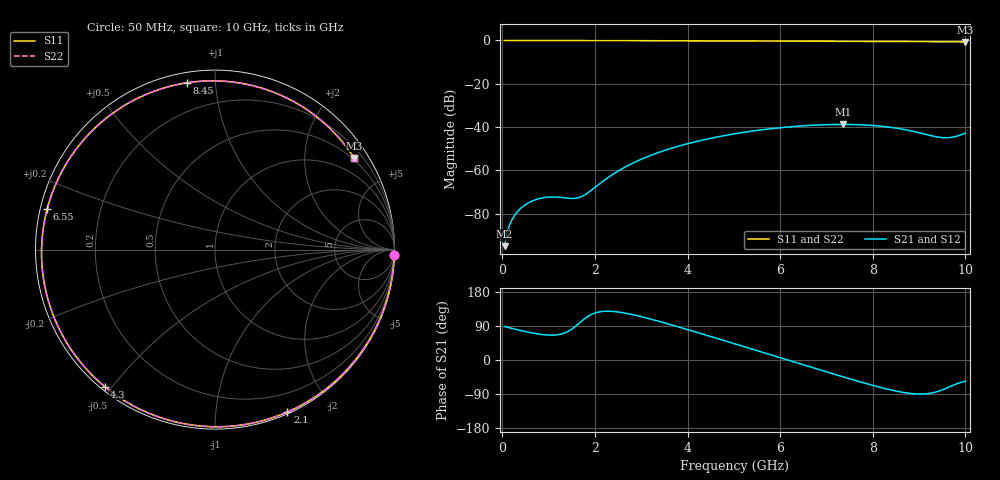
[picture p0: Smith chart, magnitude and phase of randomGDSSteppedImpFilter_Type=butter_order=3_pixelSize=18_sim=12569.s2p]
! freq	dB(S11)	phase(S11)	dB(S12)	phase(S12)
!  dB(S21)	phase(S21)	dB(S22)	phase(S22)
!S-par simulation data
#  GHz  S  DB  R 50
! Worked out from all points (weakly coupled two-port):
!   200 points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, 50 MHz to 10 GHz, reference 50 ohm
!   highest |S21| = -38.78 dB at 7.35 GHz (marker M1); lowest = -95.0 dB at 50 MHz (marker M2)
!   lowest |S11| = -0.7 dB at 10 GHz (marker M3), VSWR 26.71, Z = 22.4 + j164 ohm
!   |S11| at or under -10 dB: nowhere
!   |S22| runs from -0.7 to 0.0 dB; largest |S21 - S12| = 0
!   S11 on the Smith chart (normalised r, x): 50 MHz: 2, -70; 2.1 GHz: 0.02, -1.54; 4.3 GHz: 0.01, -0.48; 6.55 GHz: 0.02, +0.12; 8.45 GHz: 0.05, +0.85; 10 GHz: 0.45, +3.28
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0.05  -0.01 -1.6  -94.99 88.3  -94.99 88.3  -0.01 -1.6
0.3  -0.01 -9.7  -79.75 80.6  -79.75 80.6  -0.01 -9.7
0.5  -0.02 -16.2  -75.81 74.9  -75.81 74.9  -0.02 -16.2
0.8  -0.03 -25.8  -73.01 68.1  -73.01 68.1  -0.03 -25.8
1.1  -0.04 -35.3  -72.27 65.7  -72.27 65.7  -0.04 -35.3
1.55  -0.06 -49.3  -72.93 85.9  -72.93 85.9  -0.06 -49.3
1.75  -0.07 -55.4  -71.64 106.4  -71.64 106.4  -0.07 -55.4
2.1  -0.08 -66.0  -66.18 127.1  -66.18 127.1  -0.08 -66.0
2.7  -0.10 -83.7  -57.91 122.5  -57.91 122.5  -0.10 -83.7
3.4  -0.13 -103.8  -51.54 101.3  -51.54 101.3  -0.13 -103.8
4.3  -0.18 -128.9  -46.11 69.3  -46.11 69.3  -0.18 -128.9
5.05  -0.22 -149.7  -42.98 41.6  -42.98 41.6  -0.22 -149.7
5.8  -0.27 -171.1  -40.76 13.6  -40.76 13.6  -0.27 -171.1
6.55  -0.34 166.4  -39.34 -14.5  -39.34 -14.5  -0.34 166.4
6.7  -0.35 161.7  -39.16 -20.1  -39.16 -20.1  -0.35 161.6
7.35  -0.41 140.3  -38.78 -44.2  -38.78 -44.2  -0.41 140.2
7.9  -0.46 120.7  -39.13 -63.7  -39.13 -63.7  -0.46 120.6
8.35  -0.51 103.5  -40.02 -77.9  -40.02 -77.9  -0.51 103.4
8.45  -0.52 99.5  -40.31 -80.6  -40.31 -80.6  -0.52 99.4
9  -0.56 76.9  -42.63 -89.8  -42.63 -89.8  -0.56 76.8
9.5  -0.61 55.3  -44.87 -78.9  -44.87 -78.9  -0.61 55.3
10  -0.65 33.3  -42.80 -56.0  -42.80 -56.0  -0.65 33.3
